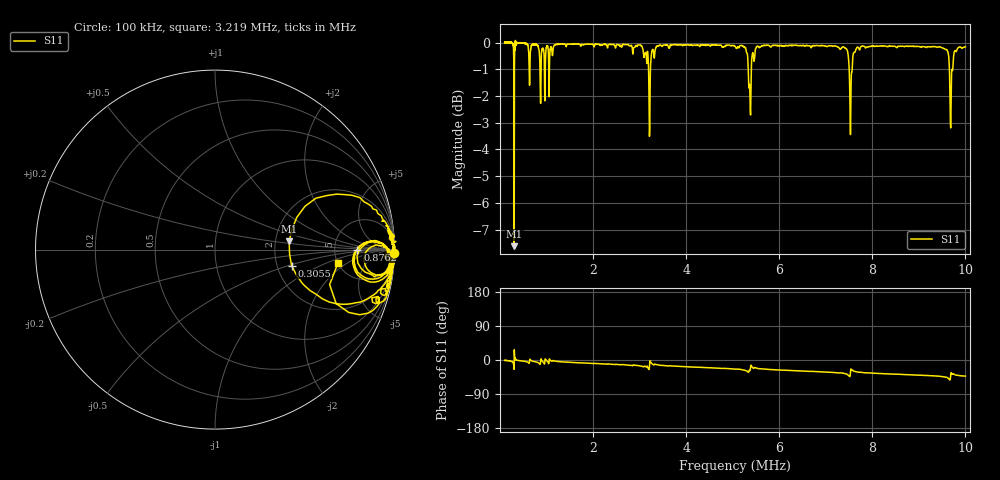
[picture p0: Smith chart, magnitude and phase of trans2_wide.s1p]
!Data & Calibration Information:
!Freq	S11:SOLT2(ON)
!PortZ  Port1:50+j0
!Above PortZ is port z conversion or system Z0 setting when saving the data.
!When reading, reference impedance value at option line is always used.
# Hz S RI R 50
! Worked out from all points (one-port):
!   3040 points, 100 kHz to 10 MHz, reference 50 ohm
!   lowest |S11| = -7.6 dB at 306.3 kHz (marker M1), VSWR 2.42, Z = 119 + j13.6 ohm
!   |S11| at or under -10 dB: nowhere
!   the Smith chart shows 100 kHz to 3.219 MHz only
!   S11 on the Smith chart (normalised r, x): 100 kHz: open; 305.5 kHz: 2.41, -0.53; 876.2 kHz: 8.70, +0.01; 3.219 MHz: 5.05, -1.40
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100000  1 -0.0165
283131  0.9815 -0.1202
298592  0.8725 -0.2584
305464  0.4265 -0.0887
306323  0.4132 0.0471
313195  0.9114 0.1982
320066  0.9622 0.1061
340860  0.996 0.0186
615479  0.9573 -0.1282
653505  0.9644 0.00165
846271  0.9436 -0.157
876206  0.7939 0.000269
911842  0.9728 -0.0534
963158  0.7752 -0.0663
1008772  0.9829 -0.0444
1337500  0.9899 -0.0864
2575000  0.9621 -0.2109
3218500  0.6862 -0.0725
3812500  0.9489 -0.2854
5050000  0.8986 -0.4031
5470750  0.8815 -0.3215
6287500  0.8732 -0.4616
7525000  0.5349 -0.4478
7673500  0.8365 -0.5112
8762500  0.7674 -0.6156
9604000  0.6722 -0.6989
9764875  0.7548 -0.5981
1e7  0.7231 -0.6645
